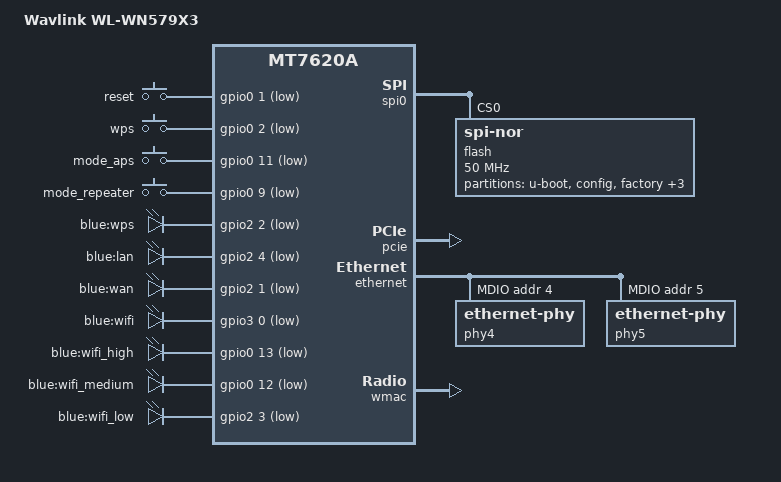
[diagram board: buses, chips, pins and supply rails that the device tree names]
// SPDX-License-Identifier: GPL-2.0-or-later

#include "mt7620a.dtsi"

#include <dt-bindings/gpio/gpio.h>
#include <dt-bindings/input/input.h>

/ {
	compatible = "wavlink,wl-wn579x3", "ralink,mt7620a-soc";
	model = "Wavlink WL-WN579X3";

	aliases {
		led-boot = &led_wps;
		led-failsafe = &led_wps;
		led-running = &led_wps;
		led-upgrade = &led_wps;
	};

	keys {
		compatible = "gpio-keys";

		reset {
			label = "reset";
			gpios = <&gpio0 1 GPIO_ACTIVE_LOW>;
			linux,code = <KEY_RESTART>;
		};

		wps {
			label = "wps";
			gpios = <&gpio0 2 GPIO_ACTIVE_LOW>;
			linux,code = <KEY_WPS_BUTTON>;
		};

		switch_aps {
			label = "mode_aps";
			gpios = <&gpio0 11 GPIO_ACTIVE_LOW>;
			linux,code = <BTN_1>;
			linux,input-type = <EV_SW>;
		};

		switch_repeater {
			label = "mode_repeater";
			gpios = <&gpio0 9 GPIO_ACTIVE_LOW>;
			linux,code = <BTN_0>;
			linux,input-type = <EV_SW>;
		};
	};

	leds {
		compatible = "gpio-leds";

		led_wps: wps {
			label = "blue:wps";
			gpios = <&gpio2 2 GPIO_ACTIVE_LOW>;
		};

		lan {
			label = "blue:lan";
			gpios = <&gpio2 4 GPIO_ACTIVE_LOW>;
		};

		wan {
			label = "blue:wan";
			gpios = <&gpio2 1 GPIO_ACTIVE_LOW>;
		};

		wifi {
			label = "blue:wifi";
			gpios = <&gpio3 0 GPIO_ACTIVE_LOW>;
		};

		/* These three form the signal wifi strength segments */
		wifi_high {
			label = "blue:wifi_high";
			gpios = <&gpio0 13 GPIO_ACTIVE_LOW>;
		};

		wifi_medium {
			label = "blue:wifi_medium";
			gpios = <&gpio0 12 GPIO_ACTIVE_LOW>;
		};

		wifi_low {
			label = "blue:wifi_low";
			gpios = <&gpio2 3 GPIO_ACTIVE_LOW>;
		};
	};
};

&gpio2 {
	status = "okay";
};

&gpio3 {
	status = "okay";
};

&spi0 {
	status = "okay";

	flash@0 {
		compatible = "jedec,spi-nor";
		reg = <0>;
		spi-max-frequency = <50000000>;

		partitions {
			compatible = "fixed-partitions";
			#address-cells = <1>;
			#size-cells = <1>;

			partition@0 {
				label = "u-boot";
				reg = <0x0 0x30000>;
				read-only;
			};

			partition@30000 {
				label = "config";
				reg = <0x30000 0x10000>;
				read-only;
			};

			factory: partition@40000 {
				label = "factory";
				reg = <0x40000 0x10000>;
				read-only;
			};

			partition@50000 {
				compatible = "denx,uimage";
				label = "firmware";
				reg = <0x50000 0x790000>;
			};

			partition@7e0000 {
				label = "board_data";
				reg = <0x7e0000 0x10000>;
				read-only;
			};

			partition@7f0000 {
				label = "nvram";
				reg = <0x7f0000 0x10000>;
				read-only;
			};
		};
	};
};

&pcie {
	status = "okay";
};

&pcie0 {
	wifi@0,0 {
		reg = <0x0000 0 0 0 0>;
		mediatek,mtd-eeprom = <&factory 0x8000>;
		ieee80211-freq-limit = <5000000 6000000>;
	};
};

&ethernet {
	pinctrl-names = "default";
	pinctrl-0 = <&rgmii1_pins &rgmii2_pins &mdio_pins>;

	mtd-mac-address = <&factory 0x28>;

	mediatek,portmap = "llllw";

	port@4 {
		status = "okay";
		phy-handle = <&phy4>;
		phy-mode = "rgmii";
	};

	port@5 {
		status = "okay";
		phy-handle = <&phy5>;
		phy-mode = "rgmii";
	};

	mdio-bus {
		status = "okay";

		phy4: ethernet-phy@4 {
			reg = <4>;
			phy-mode = "rgmii";
		};

		phy5: ethernet-phy@5 {
			reg = <5>;
			phy-mode = "rgmii";
		};
	};
};

&gsw {
	mediatek,port4 = "gmac";
};

&wmac {
	ralink,mtd-eeprom = <&factory 0x0>;
};

&state_default {
	gpio {
		groups = "ephy", "i2c", "wled", "uartf";
		function = "gpio";
	};
};
